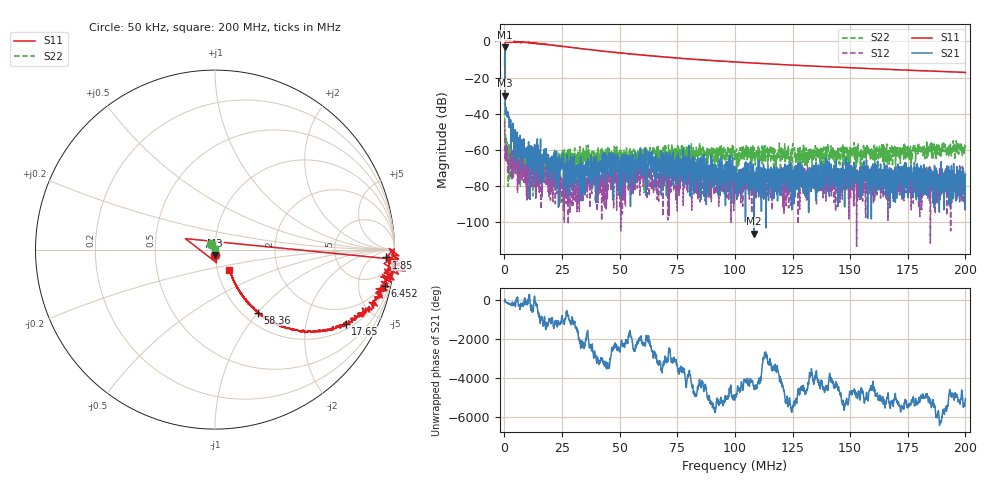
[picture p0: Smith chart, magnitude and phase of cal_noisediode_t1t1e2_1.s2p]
! 26-Feb-26 1:41:46 PM
! E:\VNA_MEASUREMENTS\CAL_S11\CAL_NOISEDIODE_T1T1E2_1.S2P
! CHANNEL.1
! TR.MEASUREMENT
! CORRECTED.DATA
# GHZ S RI R 50.0
! FREQ.GHZ  S11RE  S11IM  S21RE  S21IM  S12RE  S12IM  S22RE  S22IM
!; PortSelection: Port_12
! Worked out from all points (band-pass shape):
!   2000 points, 50 kHz to 200 MHz, reference 50 ohm
!   highest |S21| = -3.22 dB at 150 kHz (marker M1); lowest = -106.6 dB at 108.4 MHz (marker M2)
!   |S21| within 3 dB of the highest: 119.4 kHz to 178.3 kHz (58.87 kHz wide, 39.5 % of centre)
!   lowest |S11| = -30.0 dB at 50 kHz (marker M3), VSWR 1.07, Z = 49.9 - j3.16 ohm
!   |S11| at or under -10 dB: start of sweep to 283.6 kHz; 83.29 MHz to 83.86 MHz (575.9 kHz wide, 0.689 % of centre); 84.08 MHz to end of sweep (the widest 3 of 4)
!   |S22| runs from -89.4 to -28.9 dB; largest |S21 - S12| = 0.69
!   S11 on the Smith chart (normalised r, x): 50 kHz: 1.00, -0.06; 1.85 MHz: 22, -21; 6.452 MHz: 1.39, -9.19; 17.65 MHz: 1.23, -3.38; 58.36 MHz: 1.17, -1.00; 200 MHz: 1.14, -0.26
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5e-05  0.000447 -0.0316  0.1267 -0.1834  -0.00362 -0.00494  -0.021 0.0292
0.000150025  0.00915 -0.0739  0.6383 0.262  -0.000797 -0.000383  0.00242 -0.00351
0.001150275  0.9707 -0.0786  -0.00858 -0.00576  0.000317 0.000538  0.000662 0.000684
0.00185045  0.9526 -0.0438  -0.0065 -0.00327  0.000336 2.51e-05  0.000701 0.0012
0.004251051  0.9872 -0.1447  0.000327 0.00211  -0.000492 2.68e-05  0.000309 -0.000348
0.006451601  0.9471 -0.2039  0.00148 0.00109  0.000143 -8.77e-05  -5.68e-05 0.00033
0.01185295  0.8454 -0.3387  0.00041 -7.96e-05  6.57e-05 5.47e-05  0.000251 -0.00038
0.0176544  0.7283 -0.4122  -0.000675 -0.000182  -0.000116 -3.27e-05  0.000272 -5.01e-05
0.02035508  0.6681 -0.438  0.000466 -0.000322  5.33e-05 4.28e-05  -0.000322 0.00046
0.0224556  0.6233 -0.4541  3.97e-05 -6.89e-05  0.000112 9.32e-05  9.79e-05 -0.000699
0.03345835  0.4424 -0.4475  4.43e-05 0.000221  1.1e-06 9.1e-05  0.000514 0.000376
0.04346085  0.3409 -0.4113  0.000417 0.000311  6.7e-05 5.26e-05  0.000252 0.000159
0.04836208  0.2987 -0.3957  -0.000169 -0.000158  0.000154 7.88e-05  0.000835 0.000119
0.05116278  0.2851 -0.3817  -0.00052 -0.000505  -1.13e-05 1.22e-05  0.000665 1.75e-05
0.05836458  0.2395 -0.351  0.000175 0.000385  0.000225 -3.71e-05  0.000595 0.0003
0.06676668  0.2101 -0.3217  0.000563 -0.000213  9.8e-05 -0.000158  0.000809 0.000246
0.09047261  0.1514 -0.2528  0.000177 0.00012  0.000154 -2.9e-06  0.00086 0.00066
0.100075  0.1363 -0.233  7.17e-05 9.47e-05  -3.51e-05 5.34e-05  0.000735 0.000233
0.1083771  0.1276 -0.2168  -4.5e-06 1.3e-06  -3e-05 7.9e-06  0.000469 0.000247
0.1333833  0.1068 -0.1778  -7.94e-05 -0.000235  -0.000123 -0.000145  0.000356 0.00061
0.1666917  0.0906 -0.142  0.000202 -0.000121  -9.2e-06 0.000209  0.000888 0.000337
0.2  0.0801 -0.112  0.000212 5e-07  3.06e-05 7.23e-05  0.000584 0.000971
